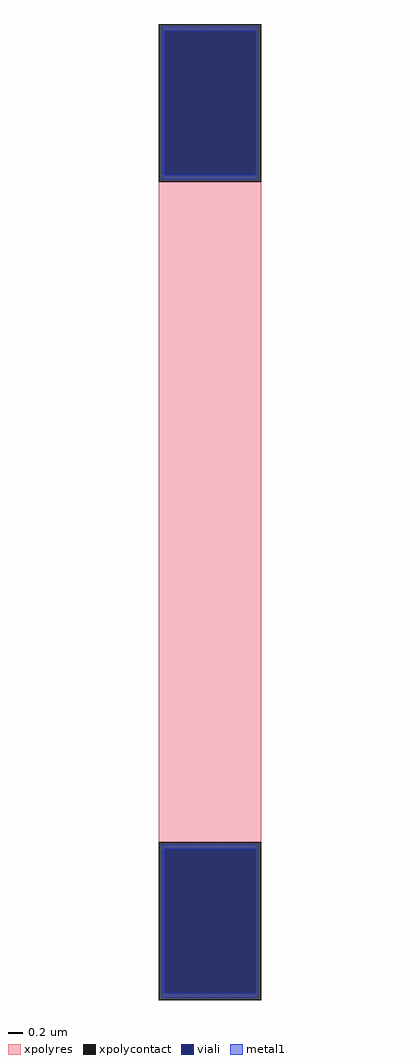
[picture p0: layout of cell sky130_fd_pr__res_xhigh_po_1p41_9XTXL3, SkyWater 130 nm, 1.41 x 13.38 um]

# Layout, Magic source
magic
tech sky130A
magscale 1 2
<< xpolycontact >>
rect -141 906 141 1338
rect -141 -1338 141 -906
<< xpolyres >>
rect -141 -906 141 906
<< viali >>
rect -125 923 125 1320
rect -125 -1320 125 -923
<< metal1 >>
rect -131 1320 131 1332
rect -131 923 -125 1320
rect 125 923 131 1320
rect -131 911 131 923
rect -131 -923 131 -911
rect -131 -1320 -125 -923
rect 125 -1320 131 -923
rect -131 -1332 131 -1320
<< properties >>
string gencell sky130_fd_pr__res_xhigh_po_1p41
string library sky130
string parameters w 1.410 l 9.216 m 1 nx 1 wmin 1.410 lmin 0.50 rho 2000 val 13.339k dummy 0 dw 0.0 term 188.2 sterm 0.0 caplen 0 wmax 1.410 guard 0 glc 1 grc 1 gtc 1 gbc 1 compatible {sky130_fd_pr__res_xhigh_po_0p35  sky130_fd_pr__res_xhigh_po_0p69 sky130_fd_pr__res_xhigh_po_1p41  sky130_fd_pr__res_xhigh_po_2p85 sky130_fd_pr__res_xhigh_po_5p73} snake 0 full_metal 1 n_guard 0 hv_guard 0 vias 1 viagb 0 viagt 0 viagl 0 viagr 0
<< end >>
